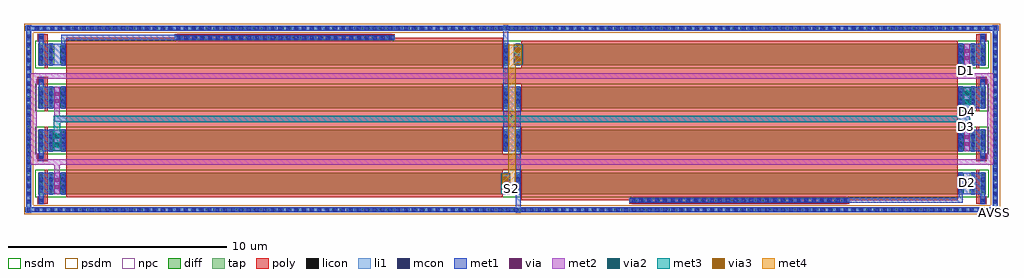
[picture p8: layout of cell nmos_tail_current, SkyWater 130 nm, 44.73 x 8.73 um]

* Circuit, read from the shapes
.subckt nmos_tail_current AVSS D1 D2 D3 D4 S2
XM1 D1 D1 D1 AVSS sky130_fd_pr__nfet_01v8 w=1 l=0.15 m=2
XM2 D4 D4 D4 AVSS sky130_fd_pr__nfet_01v8 w=1 l=0.15 m=2
XM3 D3 D3 D3 AVSS sky130_fd_pr__nfet_01v8 w=1 l=0.15 m=2
XM4 D2 D2 D2 AVSS sky130_fd_pr__nfet_01v8 w=1 l=0.15 m=2
XM5 S2 D2 D1 AVSS sky130_fd_pr__nfet_01v8 w=1 l=20 m=2
XM6 AVSS D2 D4 AVSS sky130_fd_pr__nfet_01v8 w=1 l=20 m=2
XM7 AVSS D2 D3 AVSS sky130_fd_pr__nfet_01v8 w=1 l=20 m=2
XM8 AVSS D2 D2 AVSS sky130_fd_pr__nfet_01v8 w=1 l=20 m=2
.ends

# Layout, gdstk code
import gdstk
lib = gdstk.Library(unit=1e-6, precision=1e-09)
def R(c, l, rs):  # rectangles x0, y0, x1, y1
    for r in rs: c.add(gdstk.rectangle(r[:2], r[2:], *l))
def A(c, l, x, y, w, h, nx, ny, dx, dy):  # array of equal rectangles
    R(c, l, [(x+i*dx, y+j*dy, x+i*dx+w, y+j*dy+h) for i in range(nx) for j in range(ny)])
diff = (65, 20)
tap = (65, 44)
poly = (66, 20)
licon = (66, 44)
li1 = (67, 20)
mcon = (67, 44)
met1 = (68, 20)
via = (68, 44)
met2 = (69, 20)
via2 = (69, 44)
met3 = (70, 20)
via3 = (70, 44)
met4 = (71, 20)
nsdm = (93, 44)
psdm = (94, 20)
npc = (95, 20)

sky130_fd_pr__nfet_01v8_ = lib.new_cell('sky130_fd_pr__nfet_01v8_6H9P4D')
R(sky130_fd_pr__nfet_01v8_, diff, [(-0.365,-0.5,0.365,0.5)])
R(sky130_fd_pr__nfet_01v8_, poly, [(-0.075,-0.63,0.075,0.63)])
A(sky130_fd_pr__nfet_01v8_, licon, -0.305, -0.425, 0.17, 0.17, 1, 3, 0, 0.34)
A(sky130_fd_pr__nfet_01v8_, licon, 0.135, -0.425, 0.17, 0.17, 1, 3, 0, 0.34)
R(sky130_fd_pr__nfet_01v8_, li1, [(-0.305,-0.52,-0.135,0.52), (0.135,-0.52,0.305,0.52)])
R(sky130_fd_pr__nfet_01v8_, mcon, [(-0.305,-0.265,-0.135,-0.095), (0.135,-0.265,0.305,-0.095), (-0.305,0.095,-0.135,0.265), (0.135,0.095,0.305,0.265)])
R(sky130_fd_pr__nfet_01v8_, met1, [(-0.335,-0.5,-0.105,0.5), (0.105,-0.5,0.335,0.5)])
R(sky130_fd_pr__nfet_01v8_, nsdm, [(-0.49,-0.625,0.49,0.625)])

c_sky130_fd_pr__nfet_01v8_ = lib.new_cell('sky130_fd_pr__nfet_01v8_P5G96Q')
R(c_sky130_fd_pr__nfet_01v8_, diff, [(-10.29,-0.5,10.29,0.5)])
R(c_sky130_fd_pr__nfet_01v8_, poly, [(-10,-0.63,10,0.63)])
A(c_sky130_fd_pr__nfet_01v8_, licon, -10.23, -0.425, 0.17, 0.17, 1, 3, 0, 0.34)
A(c_sky130_fd_pr__nfet_01v8_, licon, 10.06, -0.425, 0.17, 0.17, 1, 3, 0, 0.34)
R(c_sky130_fd_pr__nfet_01v8_, li1, [(-10.23,-0.52,-10.06,0.52), (10.06,-0.52,10.23,0.52)])
R(c_sky130_fd_pr__nfet_01v8_, mcon, [(-10.23,-0.265,-10.06,-0.095), (10.06,-0.265,10.23,-0.095), (-10.23,0.095,-10.06,0.265), (10.06,0.095,10.23,0.265)])
R(c_sky130_fd_pr__nfet_01v8_, met1, [(-10.26,-0.5,-10.03,0.5), (10.03,-0.5,10.26,0.5)])
R(c_sky130_fd_pr__nfet_01v8_, nsdm, [(-10.415,-0.625,10.415,0.625)])

c_sky130_fd_pr__nfet_01v8__ = lib.new_cell('sky130_fd_pr__nfet_01v8_3YKU97')
R(c_sky130_fd_pr__nfet_01v8__, diff, [(-10.29,-0.345,10.29,0.655)])
R(c_sky130_fd_pr__nfet_01v8__, poly, [(-5.04,-0.785,5.04,-0.62), (-10,-0.62,10,0.785)])
A(c_sky130_fd_pr__nfet_01v8__, licon, -4.845, -0.705, 0.17, 0.17, 29, 1, 0.34, 0)
A(c_sky130_fd_pr__nfet_01v8__, licon, -10.23, -0.27, 0.17, 0.17, 1, 3, 0, 0.34)
A(c_sky130_fd_pr__nfet_01v8__, licon, 10.06, -0.27, 0.17, 0.17, 1, 3, 0, 0.34)
R(c_sky130_fd_pr__nfet_01v8__, li1, [(-5.04,-0.705,5.04,-0.535), (-10.23,-0.365,-10.06,0.675), (10.06,-0.365,10.23,0.675)])
A(c_sky130_fd_pr__nfet_01v8__, mcon, -4.945, -0.705, 0.17, 0.17, 28, 1, 0.36, 0)
R(c_sky130_fd_pr__nfet_01v8__, mcon, [(-10.23,-0.11,-10.06,0.06), (10.06,-0.11,10.23,0.06), (-10.23,0.25,-10.06,0.42), (10.06,0.25,10.23,0.42)])
R(c_sky130_fd_pr__nfet_01v8__, met1, [(-5.02,-0.735,5.02,-0.505), (-10.26,-0.345,-10.03,0.655), (10.03,-0.345,10.26,0.655)])
R(c_sky130_fd_pr__nfet_01v8__, nsdm, [(-10.415,-0.47,10.415,0.78)])
R(c_sky130_fd_pr__nfet_01v8__, npc, [(-4.945,-0.805,4.945,-0.435)])

c_sky130_fd_pr__nfet_01v8___ = lib.new_cell('sky130_fd_pr__nfet_01v8_3KF9AC')
R(c_sky130_fd_pr__nfet_01v8___, diff, [(-10.29,-0.655,10.29,0.345)])
R(c_sky130_fd_pr__nfet_01v8___, poly, [(-10,-0.785,10,0.62), (-5.04,0.62,5.04,0.785)])
A(c_sky130_fd_pr__nfet_01v8___, licon, -10.23, -0.58, 0.17, 0.17, 1, 3, 0, 0.34)
A(c_sky130_fd_pr__nfet_01v8___, licon, 10.06, -0.58, 0.17, 0.17, 1, 3, 0, 0.34)
A(c_sky130_fd_pr__nfet_01v8___, licon, -4.845, 0.535, 0.17, 0.17, 29, 1, 0.34, 0)
R(c_sky130_fd_pr__nfet_01v8___, li1, [(-10.23,-0.675,-10.06,0.365), (10.06,-0.675,10.23,0.365), (-5.04,0.535,5.04,0.705)])
A(c_sky130_fd_pr__nfet_01v8___, mcon, -4.945, 0.535, 0.17, 0.17, 28, 1, 0.36, 0)
R(c_sky130_fd_pr__nfet_01v8___, mcon, [(-10.23,-0.42,-10.06,-0.25), (10.06,-0.42,10.23,-0.25), (-10.23,-0.06,-10.06,0.11), (10.06,-0.06,10.23,0.11)])
R(c_sky130_fd_pr__nfet_01v8___, met1, [(-10.26,-0.655,-10.03,0.345), (10.03,-0.655,10.26,0.345), (-5.02,0.505,5.02,0.735)])
R(c_sky130_fd_pr__nfet_01v8___, nsdm, [(-10.415,-0.78,10.415,0.47)])
R(c_sky130_fd_pr__nfet_01v8___, npc, [(-4.945,0.435,4.945,0.805)])

c_sky130_fd_pr__nfet_01v8____ = lib.new_cell('sky130_fd_pr__nfet_01v8_BSRS8Q')
R(c_sky130_fd_pr__nfet_01v8____, diff, [(-10.29,-0.5,10.29,0.5)])
R(c_sky130_fd_pr__nfet_01v8____, poly, [(-10,-0.63,10,0.63)])
A(c_sky130_fd_pr__nfet_01v8____, licon, -10.23, -0.425, 0.17, 0.17, 1, 3, 0, 0.34)
A(c_sky130_fd_pr__nfet_01v8____, licon, 10.06, -0.425, 0.17, 0.17, 1, 3, 0, 0.34)
R(c_sky130_fd_pr__nfet_01v8____, li1, [(-10.23,-0.52,-10.06,0.52), (10.06,-0.52,10.23,0.52)])
R(c_sky130_fd_pr__nfet_01v8____, mcon, [(-10.23,-0.265,-10.06,-0.095), (10.06,-0.265,10.23,-0.095), (-10.23,0.095,-10.06,0.265), (10.06,0.095,10.23,0.265)])
R(c_sky130_fd_pr__nfet_01v8____, met1, [(-10.26,-0.5,-10.03,0.5), (10.03,-0.5,10.26,0.5)])
R(c_sky130_fd_pr__nfet_01v8____, nsdm, [(-10.415,-0.625,10.415,0.625)])

nmos_tail_current = lib.new_cell('nmos_tail_current')
R(nmos_tail_current, tap, [(-1.545,-0.645,42.935,-0.475), (-1.545,-0.475,-1.375,7.665), (42.765,-0.475,42.935,7.665), (-1.545,7.665,42.935,7.835)])
A(nmos_tail_current, poly, 0.27, 1.27, 40.85, 0.715, 1, 3, 0, 1.97)
R(nmos_tail_current, poly, [(-1.04,-0.3,-0.58,0.03), (41.97,-0.3,42.43,0.03), (-0.73,0.03,-0.58,0.035), (-1.04,1.67,-0.58,2), (41.97,1.67,42.43,2), (-1.04,5.19,-0.58,5.52), (41.97,5.19,42.43,5.52), (-1.04,7.16,-0.58,7.49), (41.97,7.16,42.43,7.49)])
A(nmos_tail_current, licon, -1.15, -0.645, 0.17, 0.17, 129, 2, 0.34, 8.31)
A(nmos_tail_current, licon, -1.545, -0.285, 0.17, 0.17, 1, 23, 0, 0.34)
A(nmos_tail_current, licon, 42.765, -0.285, 0.17, 0.17, 1, 23, 0, 0.34)
R(nmos_tail_current, licon, [(-0.96,-0.22,-0.79,-0.05), (42.18,-0.22,42.35,-0.05), (-0.96,1.75,-0.79,1.92), (42.18,1.75,42.35,1.92), (-0.96,5.27,-0.79,5.44), (42.18,5.27,42.35,5.44), (-0.96,7.24,-0.79,7.41), (42.18,7.24,42.35,7.41)])
R(nmos_tail_current, li1, [(-1.545,-0.645,42.935,-0.475), (-1.545,-0.475,-1.375,7.665), (42.765,-0.475,42.935,7.665), (-0.96,-0.3,-0.79,0.17), (42.18,-0.3,42.35,0.23), (-0.96,1.67,-0.79,2.125), (42.18,1.67,42.35,2.22), (42.18,5.035,42.35,5.52), (-0.96,5.065,-0.79,5.52), (-0.52,6.99,-0.35,7.055), (42.18,7.04,42.35,7.49), (-0.96,7.055,-0.79,7.49), (-1.545,7.665,42.935,7.835)])
A(nmos_tail_current, mcon, -1.17, -0.645, 0.17, 0.17, 122, 2, 0.36, 8.31)
A(nmos_tail_current, mcon, -1.545, -0.27, 0.17, 0.17, 1, 22, 0, 0.36)
A(nmos_tail_current, mcon, 42.765, -0.27, 0.17, 0.17, 1, 22, 0, 0.36)
R(nmos_tail_current, mcon, [(-1.545,-0.645,-1.375,-0.475), (42.765,-0.645,42.935,-0.475), (-0.96,-0.22,-0.79,-0.05), (42.18,-0.22,42.35,-0.05), (-0.96,1.75,-0.79,1.92), (42.18,1.75,42.35,1.92), (-0.96,5.27,-0.79,5.44), (42.18,5.27,42.35,5.44), (-0.96,7.24,-0.79,7.41), (42.18,7.24,42.35,7.41), (-1.545,7.665,-1.375,7.835), (42.765,7.665,42.935,7.835)])
R(nmos_tail_current, met1, [(-1.575,-0.705,-1.345,-0.675), (20.86,-0.705,21.09,-0.675), (42.735,-0.705,42.965,-0.675), (-1.605,-0.675,42.995,-0.445), (-1.575,-0.445,-1.345,7.635), (20.86,-0.445,21.09,0.2), (42.735,-0.445,42.965,7.635), (-0.99,-0.28,-0.76,0.14), (42.15,-0.28,42.38,0.14), (35.805,-0.245,41.35,-0.015), (41.18,-0.015,41.35,0.14), (-0.99,0.14,0.24,0.19), (41.15,0.14,42.38,0.205), (-0.885,0.19,0.24,1.14), (20.205,0.2,20.625,1.08), (41.15,0.205,42.205,1.14), (20.86,1.08,21.09,2.11), (-0.99,1.69,-0.76,2.11), (42.15,1.69,42.38,2.11), (-0.99,2.11,0.24,2.14), (20.3,2.11,21.09,2.25), (41.15,2.11,42.38,2.18), (-0.825,2.14,0.24,3.11), (41.15,2.18,42.32,3.11), (20.3,2.25,21.085,5.08), (-0.805,4.08,0.24,5.06), (41.15,4.08,42.37,5.055), (41.15,5.055,42.38,5.08), (-0.99,5.06,0.24,5.08), (-0.99,5.08,-0.76,5.5), (20.3,5.08,20.53,6.135), (42.15,5.08,42.38,5.5), (-0.82,6.05,0.24,7.03), (41.15,6.05,42.305,7.03), (20.765,6.11,21.185,6.99), (20.3,7.025,20.53,7.635), (-0.99,7.03,0.24,7.05), (41.15,7.03,42.38,7.05), (-0.99,7.05,-0.76,7.47), (0.04,7.05,0.21,7.215), (42.15,7.05,42.38,7.47), (0.04,7.215,5.445,7.445), (-1.605,7.635,42.995,7.865), (-1.575,7.865,-1.345,7.895), (20.3,7.865,20.53,7.895), (42.735,7.865,42.965,7.895)])
R(nmos_tail_current, via, [(-0.23,0.405,-0.08,0.555), (20.34,0.405,20.49,0.555), (-0.23,0.725,-0.08,0.875), (20.34,0.725,20.49,0.875), (-0.23,2.375,-0.08,2.525), (41.47,2.375,41.62,2.525), (-0.23,2.695,-0.08,2.845), (41.47,2.695,41.62,2.845), (-0.23,4.345,-0.08,4.495), (41.47,4.345,41.62,4.495), (-0.23,4.665,-0.08,4.815), (41.47,4.665,41.62,4.815), (20.9,6.315,21.05,6.465), (41.47,6.315,41.62,6.465), (20.9,6.635,21.05,6.785), (41.47,6.635,41.62,6.785)])
R(nmos_tail_current, met2, [(-0.285,0.15,-0.025,1.495), (20.255,0.15,20.575,1.13), (-1.35,1.495,42.74,1.755), (-1.35,1.755,-1.09,5.435), (42.48,1.755,42.74,5.435), (-0.295,2.12,-0.015,3.1), (41.415,2.12,41.675,3.465), (-0.285,3.465,41.675,3.725), (-0.285,3.725,-0.025,5.07), (41.405,4.09,41.685,5.07), (-1.35,5.435,42.74,5.695), (41.415,5.695,41.675,7.04), (20.815,6.06,21.135,7.04)])
R(nmos_tail_current, via2, [(20.315,0.34,20.515,0.54), (20.315,0.74,20.515,0.94), (-0.255,2.31,-0.055,2.51), (-0.255,2.71,-0.055,2.91), (41.445,4.28,41.645,4.48), (41.445,4.68,41.645,4.88), (20.875,6.25,21.075,6.45), (20.875,6.65,21.075,6.85)])
R(nmos_tail_current, met3, [(20.205,0.175,20.625,1.105), (-0.345,2.145,0.035,3.075), (-0.305,3.075,-0.005,3.445), (-0.305,3.445,41.695,3.745), (41.395,3.745,41.695,4.115), (41.355,4.115,41.735,5.045), (20.765,6.085,21.185,7.015)])
R(nmos_tail_current, via3, [(20.315,0.34,20.515,0.54), (20.315,0.74,20.515,0.94), (20.875,6.25,21.075,6.45), (20.875,6.65,21.075,6.85)])
R(nmos_tail_current, met4, [(20.25,0.195,20.86,1.085), (20.53,1.085,20.86,6.105), (20.53,6.105,21.14,6.995)])
A(nmos_tail_current, nsdm, -0.165, 0.015, 0.02, 1.25, 3, 4, 20.85, 1.97)
R(nmos_tail_current, psdm, [(-1.67,-0.77,43.06,-0.35), (-1.67,-0.35,-1.25,7.54), (42.64,-0.35,43.06,7.54), (-1.67,7.54,43.06,7.96)])
R(nmos_tail_current, npc, [(-1.06,-0.32,-0.69,0.05), (42.08,-0.32,42.45,0.05), (-1.06,1.65,-0.69,2.02), (42.08,1.65,42.45,2.02), (-1.06,5.17,-0.69,5.54), (42.08,5.17,42.45,5.54), (-1.06,7.14,-0.69,7.51), (42.08,7.14,42.45,7.51)])
nmos_tail_current.add(gdstk.Reference(sky130_fd_pr__nfet_01v8_, (-0.655,0.64)))
nmos_tail_current.add(gdstk.Reference(c_sky130_fd_pr__nfet_01v8_, (10.27,0.64)))
nmos_tail_current.add(gdstk.Reference(c_sky130_fd_pr__nfet_01v8__, (31.12,0.485)))
nmos_tail_current.add(gdstk.Reference(sky130_fd_pr__nfet_01v8_, (42.045,0.64)))
nmos_tail_current.add(gdstk.Reference(sky130_fd_pr__nfet_01v8_, (-0.655,2.61)))
nmos_tail_current.add(gdstk.Reference(c_sky130_fd_pr__nfet_01v8_, (10.27,2.61)))
nmos_tail_current.add(gdstk.Reference(c_sky130_fd_pr__nfet_01v8_, (31.12,2.61)))
nmos_tail_current.add(gdstk.Reference(sky130_fd_pr__nfet_01v8_, (42.045,2.61)))
nmos_tail_current.add(gdstk.Reference(sky130_fd_pr__nfet_01v8_, (-0.655,4.58)))
nmos_tail_current.add(gdstk.Reference(c_sky130_fd_pr__nfet_01v8_, (10.27,4.58)))
nmos_tail_current.add(gdstk.Reference(c_sky130_fd_pr__nfet_01v8_, (31.12,4.58)))
nmos_tail_current.add(gdstk.Reference(sky130_fd_pr__nfet_01v8_, (42.045,4.58)))
nmos_tail_current.add(gdstk.Reference(c_sky130_fd_pr__nfet_01v8___, (10.27,6.705)))
nmos_tail_current.add(gdstk.Reference(sky130_fd_pr__nfet_01v8_, (-0.655,6.55)))
nmos_tail_current.add(gdstk.Reference(c_sky130_fd_pr__nfet_01v8____, (31.12,6.55)))
nmos_tail_current.add(gdstk.Reference(sky130_fd_pr__nfet_01v8_, (42.045,6.55)))
nmos_tail_current.add(gdstk.Label('D1', (41.53,5.8), layer=69, texttype=5))
nmos_tail_current.add(gdstk.Label('D4', (41.55,3.92), layer=70, texttype=5))
nmos_tail_current.add(gdstk.Label('D3', (41.51,3.26), layer=69, texttype=5))
nmos_tail_current.add(gdstk.Label('D2', (41.55,0.67), layer=68, texttype=5))
nmos_tail_current.add(gdstk.Label('S2', (20.68,0.4), layer=71, texttype=5))
nmos_tail_current.add(gdstk.Label('AVSS', (42.81,-0.68), layer=68, texttype=5))

lib.write_gds('nmos_tail_current.gds')
